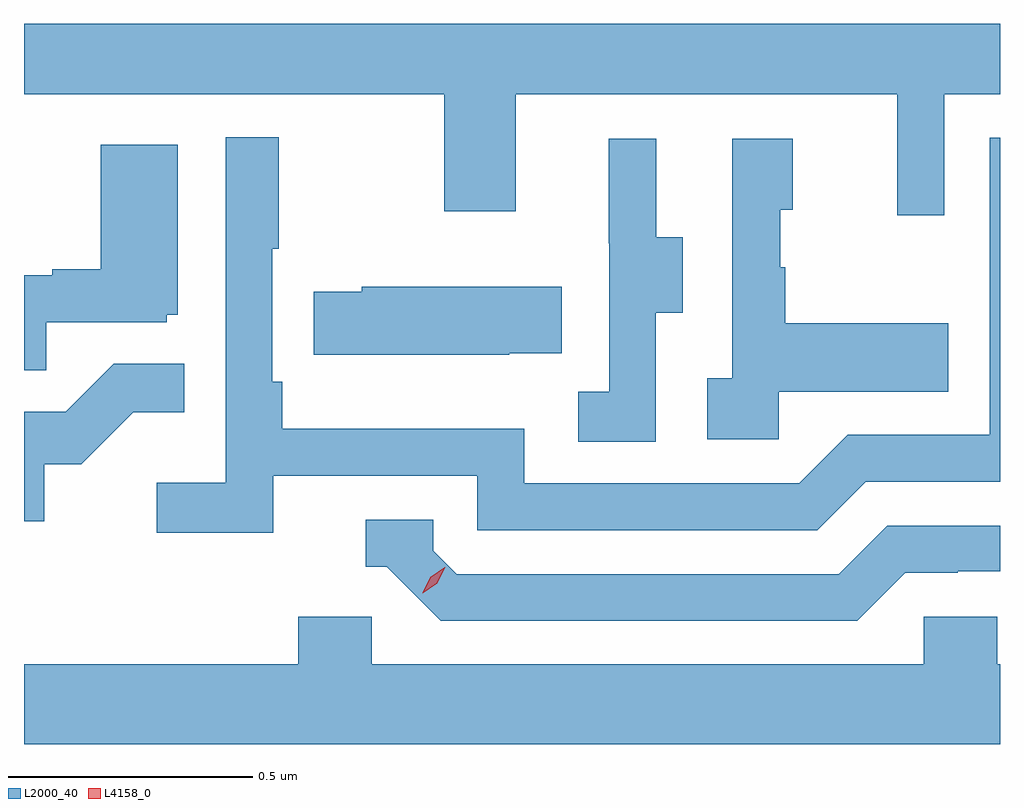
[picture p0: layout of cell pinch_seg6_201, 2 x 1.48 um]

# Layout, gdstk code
import gdstk
lib = gdstk.Library(unit=1e-6, precision=1e-09)
def P(c, l, *ps):  # polygons
    for p in ps: c.add(gdstk.Polygon(p, *l))
L2000_40 = (2000, 40)
L4158_0 = (4158, 0)

pinch_seg6_201 = lib.new_cell('pinch_seg6_201')
P(pinch_seg6_201, L2000_40, [(1047.969,934.016),(1048.083,934.016),(1048.083,934.161),(1046.083,934.161),(1046.083,934.016),(1046.944,934.016),(1046.944,933.777),(1047.091,933.777),(1047.091,934.016),(1047.872,934.016),(1047.872,933.768),(1047.969,933.768)],
  [(1046.594,933.234),(1047.012,933.234),(1047.012,933.123),(1047.709,933.123),(1047.808,933.222),(1048.083,933.222),(1048.083,933.927),(1048.062,933.927),(1048.062,933.318),(1047.771,933.318),(1047.672,933.219),(1047.108,933.219),(1047.108,933.331),(1046.612,933.331),(1046.612,933.427),(1046.592,933.427),(1046.592,933.7),(1046.605,933.7),(1046.605,933.928),(1046.496,933.928),(1046.496,933.22),(1046.355,933.22),(1046.355,933.118),(1046.594,933.118)],
  [(1047.63,933.407),(1047.977,933.407),(1047.977,933.547),(1047.643,933.547),(1047.643,933.662),(1047.633,933.662),(1047.633,933.78),(1047.658,933.78),(1047.658,933.925),(1047.534,933.925),(1047.534,933.434),(1047.483,933.434),(1047.483,933.309),(1047.63,933.309)],
  [(1047.378,933.568),(1047.433,933.568),(1047.433,933.723),(1047.379,933.723),(1047.379,933.925),(1047.281,933.925),(1047.281,933.711),(1047.282,933.711),(1047.282,933.407),(1047.219,933.407),(1047.219,933.304),(1047.378,933.304)],
  [(1046.129,933.549),(1046.376,933.549),(1046.376,933.564),(1046.398,933.564),(1046.398,933.913),(1046.24,933.913),(1046.24,933.658),(1046.141,933.658),(1046.141,933.645),(1046.083,933.645),(1046.083,933.451),(1046.129,933.451)],
  [(1047.077,933.485),(1047.185,933.485),(1047.185,933.622),(1046.775,933.622),(1046.775,933.612),(1046.677,933.612),(1046.677,933.482),(1047.077,933.482)],
  [(1046.124,933.258),(1046.2,933.258),(1046.307,933.365),(1046.411,933.365),(1046.411,933.464),(1046.267,933.464),(1046.169,933.366),(1046.083,933.366),(1046.083,933.141),(1046.124,933.141)],
  [(1047.889,933.036),(1047.996,933.036),(1047.996,933.039),(1048.083,933.039),(1048.083,933.132),(1047.852,933.132),(1047.753,933.033),(1046.97,933.033),(1046.922,933.081),(1046.922,933.144),(1046.783,933.144),(1046.783,933.048),(1046.826,933.048),(1046.937,932.937),(1047.79,932.937)],
  [(1048.083,932.848),(1048.077,932.848),(1048.077,932.946),(1047.927,932.946),(1047.927,932.848),(1046.796,932.848),(1046.796,932.946),(1046.645,932.946),(1046.645,932.848),(1046.083,932.848),(1046.083,932.684),(1048.083,932.684)])
P(pinch_seg6_201, L4158_0, [(1046.9,932.994),(1046.9,932.995),(1046.915,933.027),(1046.945,933.047),(1046.946,933.047),(1046.946,933.047),(1046.93,933.014),(1046.9,932.994)])

lib.write_gds('pinch_seg6_201.gds')
